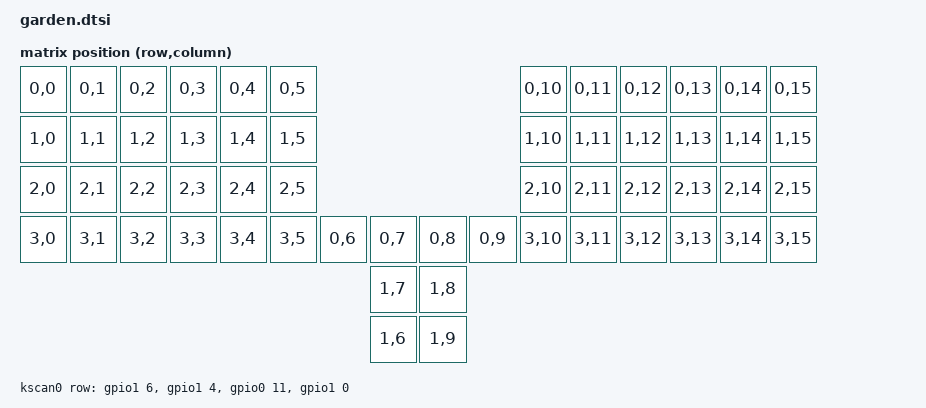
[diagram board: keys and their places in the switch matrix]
#include <dt-bindings/zmk/matrix_transform.h>

/ {
	chosen {
		zmk,kscan = &kscan0;
		zmk,matrix-transform = &default_transform;
	};

	default_transform: keymap_transform_0 {
		compatible = "zmk,matrix-transform";
		columns = <16>;
		rows = <4>;
// | SW1  | SW5  | SW9  | SW13 | SW17 | SW21 |                                  | SW21 | SW17 | SW13 | SW9  | SW5  | SW1  |
// | SW2  | SW6  | SW10 | SW14 | SW18 | SW22 |                                  | SW22 | SW18 | SW14 | SW10 | SW6  | SW2  |
// | SW3  | SW7  | SW11 | SW15 | SW19 | SW23 |                                  | SW23 | SW19 | SW15 | SW11 | SW7  | SW3  |
// | SW4  | SW8  | SW12 | SW16 | SW20 | SW24 | SW25 | SW26 |      | SW26 | SW25 | SW24 | SW20 | SW16 | SW12 | SW8  | SW4  |
//                                                  | SW27 |      | SW27 |
//                                                  | SW28 |      | SW28 |
		map = <
RC(0,0) RC(0,1) RC(0,2) RC(0,3) RC(0,4) RC(0,5)                                 RC(0,10) RC(0,11) RC(0,12) RC(0,13) RC(0,14) RC(0,15)
RC(1,0) RC(1,1) RC(1,2) RC(1,3) RC(1,4) RC(1,5)                                 RC(1,10) RC(1,11) RC(1,12) RC(1,13) RC(1,14) RC(1,15)
RC(2,0) RC(2,1) RC(2,2) RC(2,3) RC(2,4) RC(2,5)                                 RC(2,10) RC(2,11) RC(2,12) RC(2,13) RC(2,14) RC(2,15)
RC(3,0) RC(3,1) RC(3,2) RC(3,3) RC(3,4) RC(3,5) RC(0,6) RC(0,7) RC(0,8) RC(0,9) RC(3,10) RC(3,11) RC(3,12) RC(3,13) RC(3,14) RC(3,15) 
                                                        RC(1,7) RC(1,8)
                                                        RC(1,6) RC(1,9)
		>;
	};

	kscan0: kscan {
		compatible = "zmk,kscan-gpio-matrix";

		diode-direction = "col2row";
		row-gpios
			= <&gpio1 6 (GPIO_ACTIVE_HIGH | GPIO_PULL_DOWN)>
			, <&gpio1 4 (GPIO_ACTIVE_HIGH | GPIO_PULL_DOWN)>
			, <&gpio0 11 (GPIO_ACTIVE_HIGH | GPIO_PULL_DOWN)>
			, <&gpio1 0 (GPIO_ACTIVE_HIGH | GPIO_PULL_DOWN)>
			;
	};
};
